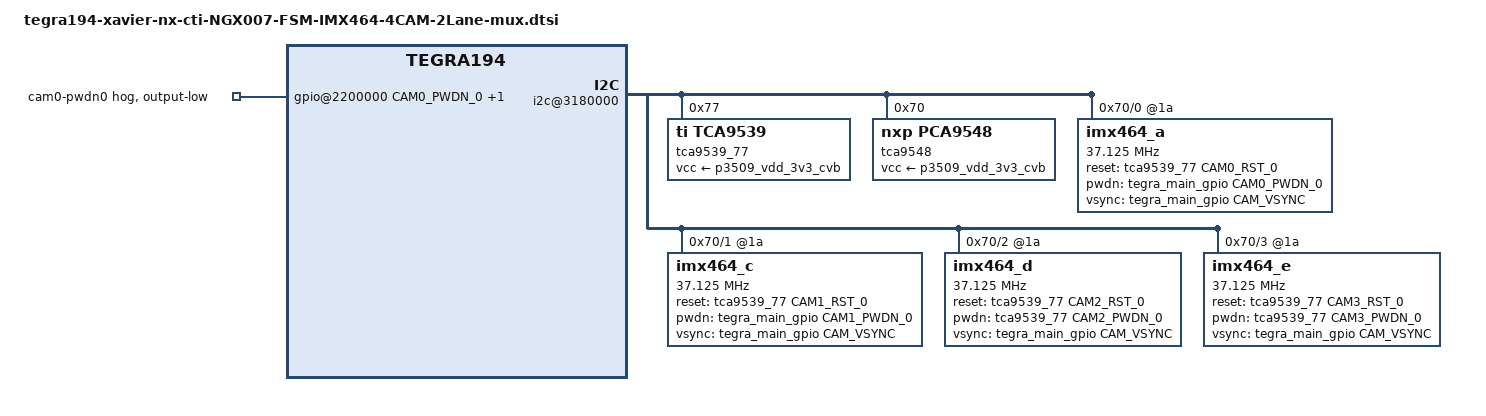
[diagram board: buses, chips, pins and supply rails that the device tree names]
/*
 * tegra194-jakku-camera-imx464.dtsi - imx464 sensor device tree
 *
 * Copyright (c) 2019. FRAMOS.  All rights reserved.
 *
 * This program is free software; you can redistribute it and/or modify it
 * under the terms and conditions of the GNU General Public License,
 * version 2, as published by the Free Software Foundation.
 *
 * This program is distributed in the hope it will be useful, but WITHOUT
 * ANY WARRANTY; without even the implied warranty of MERCHANTABILITY or
 * FITNESS FOR A PARTICULAR PURPOSE.  See the GNU General Public License for
 * more details.
 *
 * You should have received a copy of the GNU General Public License
 * along with this program.  If not, see <http://www.gnu.org/licenses/>.
 */

#include "tegra194-xavier-nx-cti-NGX007-FSM-IMX464-4CAM-2Lane.dtsi"
#include <dt-bindings/clock/tegra194-clock.h>

#define CAM0_PWDN_0 TEGRA194_MAIN_GPIO(P, 4)
#define CAM1_PWDN_0	TEGRA194_MAIN_GPIO(P, 5)
#define CAM_VSYNC   TEGRA194_MAIN_GPIO(Q, 5)

/* PCA9539 Pxx bus-port define*/
#define CAM0_RST_0      0
#define CAM1_RST_0      2
#define CAM2_RST_0      4
#define CAM3_RST_0      7
#define CAM0_PWDN_1     1
#define CAM1_PWDN_1     3
#define CAM2_PWDN_0     5
#define CAM2_PWDN_1     6
#define CAM3_PWDN_0     8 // P10
#define CAM3_PWDN_1     9 // P11
#define MIPI_SW_SEL     10 // P12

#define CAMERA_I2C_MUX_BUS(x) (0x1E + x)

/ {
	i2c@3180000 {
		tca9539_77: gpio@77 {
		    compatible = "ti,tca9539";
		    reg = <0x77>;
		    gpio-controller;
		    #gpio-cells = <2>;
		    vcc-supply = <&p3509_vdd_3v3_cvb>;
            status = "okay";
            tca9539_77_outlow {
			    gpio-hog;
			    output-low;
			    gpios = <0 0 1 0 2 0 3 0 4 0 5 0 6 0 7 0 8 0 9 0>;
			    label = "tca9539_77_outlow_0",
				        "tca9539_77_outlow_1",
				        "tca9539_77_outlow_2",
				        "tca9539_77_outlow_3",
				        "tca9539_77_outlow_4",
				        "tca9539_77_outlow_5",
                        "tca9539_77_outlow_6",
                        "tca9539_77_outlow_7",
                        "tca9539_77_outlow_8",
                        "tca9539_77_outlow_9";
                status = "okay";
		    };
			tca9539_77_outhigh {
			    gpio-hog;
			    output-high;
			    gpios = <10 0>;
			    label = "tca9539_77_outhigh_10";
                status = "okay";
		    };
	    };

	    tca9548@70 {
		    compatible = "nxp,pca9548";
		    reg = <0x70>;
		    #address-cells = <1>;
		    #size-cells = <0>;
		    skip_mux_detect;
            vcc-supply = <&p3509_vdd_3v3_cvb>;
            force_bus_start = <CAMERA_I2C_MUX_BUS(0)>;
            status = "okay";
		    i2c@0 {
			    reg = <0>;
			    i2c-mux,deselect-on-exit;
			    #address-cells = <1>;
			    #size-cells = <0>;
                status = "okay";
			    imx464_a@1a {
                    status = "okay";
				    clocks = <&bpmp_clks TEGRA194_CLK_EXTPERIPH1>,
					     	 <&bpmp_clks TEGRA194_CLK_EXTPERIPH1>;
			    	clock-names = "extperiph1", "pllp_grtba";
			    	mclk = "extperiph1";
				    clock-frequency = <37125000>;
					reset-gpios = <&tca9539_77 CAM0_RST_0 GPIO_ACTIVE_HIGH>;
                    pwdn-gpios = <&tegra_main_gpio CAM0_PWDN_0 GPIO_ACTIVE_HIGH>;
                    vsync-gpios = <&tegra_main_gpio CAM_VSYNC GPIO_ACTIVE_HIGH>;
			    };
		    };

		    i2c@1 {
			    reg = <1>;
			    i2c-mux,deselect-on-exit;
			    #address-cells = <1>;
			    #size-cells = <0>;
                status = "okay";
			    imx464_c@1a {
                    status = "okay";
				    clocks = <&bpmp_clks TEGRA194_CLK_EXTPERIPH1>,
					     	 <&bpmp_clks TEGRA194_CLK_EXTPERIPH1>;
			    	clock-names = "extperiph1", "pllp_grtba";
			    	mclk = "extperiph1";
				    clock-frequency = <37125000>;
				    reset-gpios = <&tca9539_77 CAM1_RST_0 GPIO_ACTIVE_HIGH>;
                    pwdn-gpios = <&tegra_main_gpio CAM1_PWDN_0 GPIO_ACTIVE_HIGH>;
                    vsync-gpios = <&tegra_main_gpio CAM_VSYNC GPIO_ACTIVE_HIGH>;
			    };
		    };

            i2c@2 {
			    reg = <2>;
			    i2c-mux,deselect-on-exit;
			    #address-cells = <1>;
			    #size-cells = <0>;
                status = "okay";
			    imx464_d@1a {
                    status = "okay";
				    clocks = <&bpmp_clks TEGRA194_CLK_EXTPERIPH1>,
					     	 <&bpmp_clks TEGRA194_CLK_EXTPERIPH1>;
			    	clock-names = "extperiph1", "pllp_grtba";
			    	mclk = "extperiph1";
				    clock-frequency = <37125000>;
				    reset-gpios = <&tca9539_77 CAM2_RST_0 GPIO_ACTIVE_HIGH>;
                    pwdn-gpios = <&tca9539_77 CAM2_PWDN_0 GPIO_ACTIVE_HIGH>;
                    vsync-gpios = <&tegra_main_gpio CAM_VSYNC GPIO_ACTIVE_HIGH>;
			    };
		    };

            i2c@3 {
			    reg = <3>;
			    i2c-mux,deselect-on-exit;
			    #address-cells = <1>;
			    #size-cells = <0>;
                status = "okay";
			    imx464_e@1a {
                    status = "okay";
				    clocks = <&bpmp_clks TEGRA194_CLK_EXTPERIPH1>,
					     	 <&bpmp_clks TEGRA194_CLK_EXTPERIPH1>;
			    	clock-names = "extperiph1", "pllp_grtba";
			    	mclk = "extperiph1";
				    clock-frequency = <37125000>;
				    reset-gpios = <&tca9539_77 CAM3_RST_0 GPIO_ACTIVE_HIGH>;
                    pwdn-gpios = <&tca9539_77 CAM3_PWDN_0 GPIO_ACTIVE_HIGH>;
                    vsync-gpios = <&tegra_main_gpio CAM_VSYNC GPIO_ACTIVE_HIGH>;
			    };
		    };
	    };
	};

	gpio@2200000 {
		camera-control-output-low {
			gpio-hog;
			output-low;
			gpios = < CAM0_PWDN_0 0 CAM1_PWDN_0 0 >;
			label = "cam0-pwdn0", "cam1-pwdn0";
		};
	};
};
